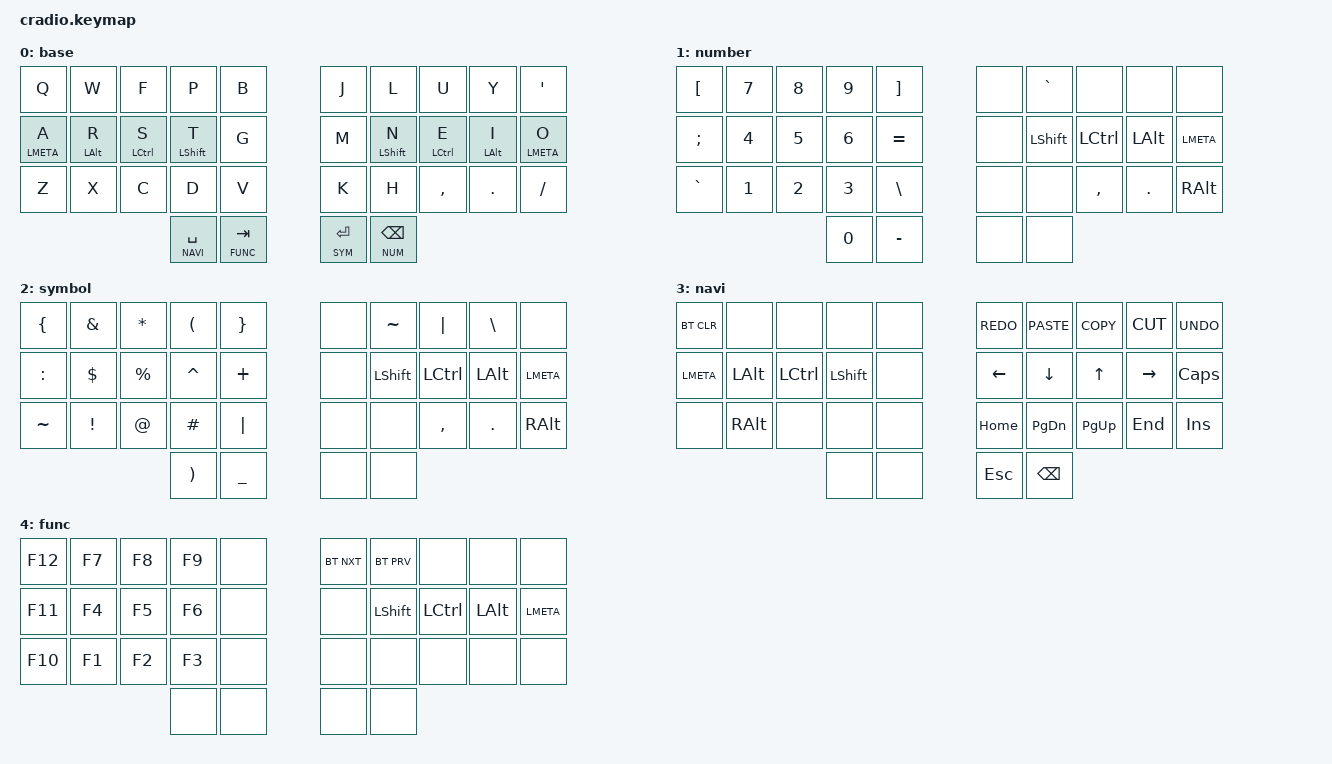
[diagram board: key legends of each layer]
/*
 * Copyright (c) 2020 The ZMK Contributors
 *
 * SPDX-License-Identifier: MIT
 */

#include <behaviors.dtsi>
#include <dt-bindings/zmk/keys.h>
#include <dt-bindings/zmk/bt.h>
#define BASE 0
#define NUM 1
#define SYM 2
#define NAVI 3
#define FUNC 4

&mt {
  flavor = "tap-preferred";
  tapping_term_ms = <175>;
};

/ { 

    combos {
        compatible = "zmk,combos";

        combo_esc {
            timeout-ms = <50>;
            key-positions = <1 2>;
            bindings = <&kp ESC>;
        };
        
        combo_caps {
            timeout-ms = <50>;
            key-positions = <30 32>;
            bindings = <&kp CAPS>;
        };

        combo_z {
            timeout-ms = <50>;
            key-positions = <21 22>;
            bindings = <&kp Z>;
        };
        
        combo_b {
            timeout-ms = <50>;
            key-positions = <2 3>;
            bindings = <&kp B>;
        };

        combo_v {
            timeout-ms = <50>;
            key-positions = <22 23>;
            bindings = <&kp V>;
        };

        combo_j {
            timeout-ms = <50>;
            key-positions = <6 7>;
            bindings = <&kp J>;
        };

        combo_k {
            timeout-ms = <50>;
            key-positions = <26 27>;
            bindings = <&kp K>;
        };

        combo_slash {
            timeout-ms = <50>;
            key-positions = <27 28>;
            bindings = <&kp SLASH>;
        };

    };

        keymap {
                compatible = "zmk,keymap";
                
       		base {
		bindings = <
		&kp Q       &kp W      &kp F       &kp P          &kp B 	         &kp J       &kp L        &kp U       &kp Y      &kp SQT 
		&mt LMETA A &mt LALT R &mt LCTRL S &mt LSHIFT T   &kp G 	         &kp M       &mt LSHIFT N &mt LCTRL E &mt LALT I &mt LMETA O
		&kp Z       &kp X      &kp C       &kp D          &kp V		         &kp K       &kp H        &kp COMMA   &kp DOT    &kp SLASH
          				                     &lt NAVI SPC   &lt FUNC TAB     &lt SYM RET &lt NUM BSPC
                                       
		>;
		};

          number {
		bindings = <
		&kp LBKT    &kp N7     &kp N8      &kp N9         &kp RBKT 	  &none   &kp GRAVE    &none       &none      &none 
		&kp SEMI    &kp N4     &kp N5      &kp N6         &kp EQUAL   &none   &kp LSHIFT   &kp LCTRL   &kp LALT   &kp LMETA 
		&kp GRAVE   &kp N1     &kp N2      &kp N3         &kp BSLH 	  &none   &none        &kp COMMA   &kp DOT    &kp RALT
          				                     &kp N0         &kp MINUS   &none   &none
		>;
		};
		
		      symbol {
		bindings = <
		&kp LBRC    &kp AMPS   &kp ASTRK   &kp LPAR       &kp RBRC 	  &none   &kp TILDE    &kp PIPE    &kp BSLH   &none 
		&kp COLON   &kp DLLR   &kp PRCNT   &kp CARET      &kp PLUS    &none   &kp LSHIFT   &kp LCTRL   &kp LALT   &kp LMETA 
		&kp TILDE   &kp EXCL   &kp AT      &kp HASH       &kp PIPE 	  &none   &none        &kp COMMA   &kp DOT    &kp RALT
          				                     &kp RPAR       &kp UNDER   &none   &none
		>;
		};	
		
		      navi {
		bindings = <
		&bt BT_CLR  &none      &none       &none          &none       &kp K_REDO &kp K_PASTE  &kp K_COPY  &kp K_CUT  &kp K_UNDO
		&kp LMETA   &kp LALT   &kp LCTRL   &kp LSHIFT     &none       &kp LEFT   &kp DOWN     &kp UP      &kp RIGHT  &kp CAPS
		&none       &kp RALT   &none       &none          &none       &kp HOME   &kp PG_DN    &kp PG_UP   &kp END    &kp INS
          				                     &none          &none       &kp ESC    &kp BSPC
		>;
		};

		      func {
		bindings = <
		&kp F12     &kp F7     &kp F8      &kp F9         &none       &bt BT_NXT &bt BT_PRV   &none       &none      &none
		&kp F11     &kp F4     &kp F5      &kp F6         &none       &none      &kp LSHIFT   &kp LCTRL   &kp LALT   &kp LMETA
		&kp F10     &kp F1     &kp F2      &kp F3         &none       &none      &none        &none       &none      &none
          				                     &none          &none       &none      &none
		>;
		};

	};
};
